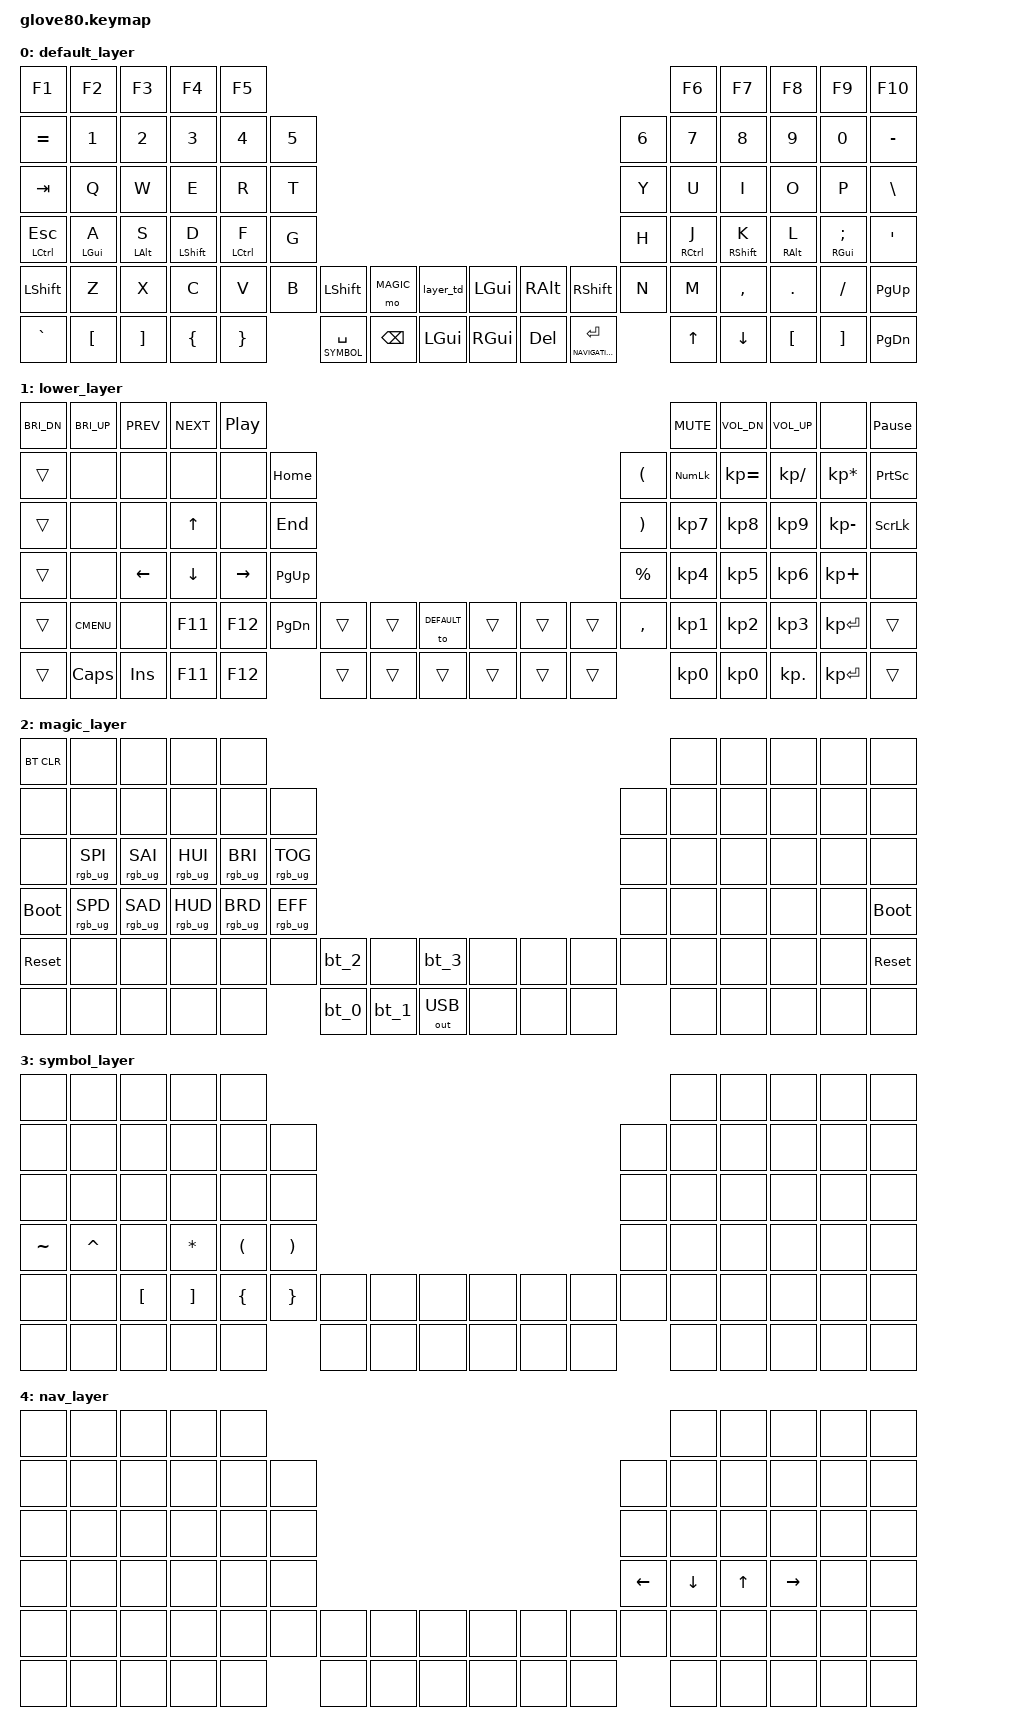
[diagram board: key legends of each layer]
/*
 * Copyright (c) 2020 The ZMK Contributors
 *
 * SPDX-License-Identifier: MIT
 */

#include <behaviors.dtsi>
#include <dt-bindings/zmk/keys.h>
#include <dt-bindings/zmk/bt.h>
#include <dt-bindings/zmk/ext_power.h>
#include <dt-bindings/zmk/outputs.h>
#include <dt-bindings/zmk/rgb.h>

// layers
#define DEFAULT 0
#define LOWER 1
#define MAGIC 2
#define SYMBOL 3
#define NAVIGATION 4

/ {
    behaviors {
        // For the "layer" key, it'd nice to be able to use it as either a shift or a toggle.
        // Configure it as a tap dance, so the first tap (or hold) is a &mo and the second tap is a &to
        layer_td: tap_dance_0 {
            compatible = "zmk,behavior-tap-dance";
            #binding-cells = <0>;
            tapping-term-ms = <200>;
            bindings = <&mo LOWER>, <&to LOWER>;
        };

        lh_meta: home_row_left_cmd_tap {
            compatible = "zmk,behavior-hold-tap";
            #binding-cells = <2>;
            flavor = "balanced";
            tapping-term-ms = <150>;
            quick-tap-ms = <200>;
            bindings = <&kp>, <&kp>;
            hold-trigger-key-positions = <6 7 8 9 10 11>;
        };

        lh_pht: home_row_left_mod_tap {
            compatible = "zmk,behavior-hold-tap";
            #binding-cells = <2>;
            flavor = "balanced";
            tapping-term-ms = <150>;
            quick-tap-ms = <200>;
            bindings = <&kp>, <&kp>;
            #hold-trigger-key-positions = <6 7 8 9 10 11>;
        };

        rh_pht: home_row_right_mod_tap {
            compatible = "zmk,behavior-hold-tap";
            #binding-cells = <2>;
            flavor = "balanced";
            tapping-term-ms = <150>;
            quick-tap-ms = <200>;
            bindings = <&kp>, <&kp>;
            #hold-trigger-key-positions = <0 1 2 3 4 5>;
        };
    };

    macros {
        bt_0: bt_profile_macro_0 {
            compatible = "zmk,behavior-macro";
            #binding-cells = <0>;
            bindings
                = <&out OUT_BLE>,
                  <&bt BT_SEL 0>;
        };

        bt_1: bt_profile_macro_1 {
            compatible = "zmk,behavior-macro";
            #binding-cells = <0>;
            bindings
                = <&out OUT_BLE>,
                  <&bt BT_SEL 1>;
        };

        bt_2: bt_profile_macro_2 {
            compatible = "zmk,behavior-macro";
            #binding-cells = <0>;
            bindings
                = <&out OUT_BLE>,
                  <&bt BT_SEL 2>;
        };

        bt_3: bt_profile_macro_3 {
            compatible = "zmk,behavior-macro";
            #binding-cells = <0>;
            bindings
                = <&out OUT_BLE>,
                  <&bt BT_SEL 3>;
        };
    };

    keymap {
        compatible = "zmk,keymap";

        default_layer {
            // ---------------------------------------------------------------------------------------------------------------------------------
            // |  F1   |  F2 |  F3 |  F4  |  F5  |                                                               |  F6   |  F7   |  F8  |   F9  |  F10 |
            // |  =    |  1  |  2  |  3   |  4   |  5   |                                                 |  6   |   7   |   8   |  9   |   0   |   -  |
            // |  TAB  |  Q  |  W  |  E   |  R   |  T   |                                                 |  Y   |   U   |   I   |  O   |   P   |   \  |
            // |  ESC  |  A  |  S  |  D   |  F   |  G   |                                                 |  H   |   J   |   K   |  L   |   ;   |   '  |
            // |   `   |  Z  |  X  |  C   |  V   |  B   | LSHFT | LCTRL | LOWER | | LGUI  | RCTRL | RSHFT |  N   |   M   |   ,   |  .   |   /   | PGUP |
            // | MAGIC | HOME| END | LEFT | RIGHT|      | BSPC  | DEL   | LALT  | | RALT  | RET   | SPACE |      |  UP   | DOWN  |  [   |   ]   | PGDN |

            bindings = <
            &kp F1         &kp F2   &kp F3      &kp F4      &kp F5                                                                                         &kp F6  &kp F7      &kp F8      &kp F9      &kp F10
            &kp EQUAL      &kp N1   &kp N2      &kp N3      &kp N4      &kp N5                                                                     &kp N6  &kp N7  &kp N8      &kp N9      &kp N0      &kp MINUS
            &kp TAB        &kp Q    &kp W       &kp E       &kp R       &kp T                                                                      &kp Y   &kp U   &kp I       &kp O       &kp P       &kp BSLH
            &mt LCTRL ESC  &lh_meta LGUI A    &lh_pht LALT S       &lh_pht LSHFT D       &lh_pht LCTRL F       &kp G                                                                      &kp H   &rh_pht RCTRL J   &rh_pht RSHFT K       &rh_pht RALT L       &rh_pht RGUI SEMI    &kp SQT
            &kp LSHIFT      &kp Z    &kp X       &kp C       &kp V       &kp B   &kp LSHFT   &mo MAGIC   &layer_td  &kp LGUI  &kp RALT &kp RSHFT   &kp N   &kp M   &kp COMMA   &kp DOT     &kp FSLH    &kp PG_UP
            &kp GRAVE      &kp LBKT    &kp RBKT       &kp LBRC       &kp RBRC       &lt SYMBOL SPACE   &kp BSPC     &kp LGUI   &kp RGUI  &kp DEL   &lt NAVIGATION RET           &kp UP  &kp DOWN    &kp LBKT    &kp RBKT    &kp PG_DN
            >;
        };

        lower_layer {
            bindings = <
            &kp C_BRI_DN      &kp C_BRI_UP        &kp C_PREV      &kp C_NEXT      &kp C_PP                                                                                                           &kp C_MUTE   &kp C_VOL_DN &kp C_VOL_UP  &none           &kp PAUSE_BREAK
            &trans            &none               &none           &none           &none           &kp HOME                                                                              &kp LPAR     &kp KP_NUM   &kp KP_EQUAL &kp KP_DIVIDE &kp KP_MULTIPLY &kp PSCRN
            &trans            &none               &none           &kp UP          &none           &kp END                                                                               &kp RPAR     &kp KP_N7    &kp KP_N8    &kp KP_N9     &kp KP_MINUS    &kp SLCK
            &trans            &none               &kp LEFT        &kp DOWN        &kp RIGHT       &kp PG_UP                                                                             &kp PRCNT    &kp KP_N4    &kp KP_N5    &kp KP_N6     &kp KP_PLUS     &none
            &trans            &kp K_CMENU         &none           &kp F11         &kp F12         &kp PG_DN       &trans      &trans      &to DEFAULT &trans      &trans      &trans    &kp COMMA    &kp KP_N1    &kp KP_N2    &kp KP_N3     &kp KP_ENTER    &trans
            &trans            &kp CAPS            &kp INS         &kp F11         &kp F12                         &trans      &trans      &trans      &trans      &trans      &trans                 &kp KP_N0    &kp KP_N0    &kp KP_DOT    &kp KP_ENTER    &trans
            >;
        };

        magic_layer {
            bindings = <
            &bt BT_CLR        &none               &none           &none           &none                                                                                                           &none      &none      &none      &none      &none
            &none             &none               &none           &none           &none           &none                                                                                &none      &none      &none      &none      &none      &none
            &none             &rgb_ug RGB_SPI     &rgb_ug RGB_SAI &rgb_ug RGB_HUI &rgb_ug RGB_BRI &rgb_ug RGB_TOG                                                                      &none      &none      &none      &none      &none      &none
            &bootloader       &rgb_ug RGB_SPD     &rgb_ug RGB_SAD &rgb_ug RGB_HUD &rgb_ug RGB_BRD &rgb_ug RGB_EFF                                                                      &none      &none      &none      &none      &none      &bootloader
            &sys_reset        &none               &none           &none           &none           &none           &bt_2     &none     &bt_3            &none     &none     &none       &none      &none      &none      &none      &none      &sys_reset
            &none             &none               &none           &none           &none                           &bt_0     &bt_1     &out OUT_USB     &none     &none     &none                  &none      &none      &none      &none      &none
            >;
        };

        symbol_layer {
           bindings = <
            // FnRow
            &none        &none               &none           &none           &none                                                                                                           &none      &none      &none      &none      &none
            // Num
            &none             &none               &none           &none           &none           &none                                                                                &none      &none      &none      &none      &none      &none
            // qwert
            &none             &none               &none           &none           &none           &none                                                                                &none      &none      &none      &none      &none      &none
            // asdf
            &kp TILDE             &kp CARET               &none           &kp STAR           &kp LPAR           &kp RPAR                                                                                &none      &none      &none      &none      &none      &none
            // zxc
            // SHIFT          Z                    X               C                V              B
            &none             &none            &kp LBKT          &kp RBKT       &kp LBRC       &kp RBRC           &none            &none            &none            &none            &none            &none         &none      &none      &none      &none      &none      &none
            // bot
            &none             &none               &none           &none           &none           &none            &none            &none            &none            &none         &none      &none      &none      &none      &none      &none
            >;

        };

        nav_layer {
          bindings = <
            // FRow
            &none        &none               &none           &none           &none                                                                                                           &none      &none      &none      &none      &none
            // Num
            &none             &none               &none           &none           &none           &none                                                                                &none      &none      &none      &none      &none      &none
            // qwert
            &none             &none               &none           &none           &none           &none                                                                                &none      &none      &none      &none      &none      &none
            // asdf
            &none             &none               &none           &none           &none           &none                                                                                &kp LEFT      &kp DOWN      &kp UP      &kp RIGHT   &none     &none
            // zxc
            &none             &none               &none           &none           &none           &none            &none            &none            &none            &none            &none            &none         &none      &none      &none      &none      &none      &none
            // bot
            &none             &none               &none           &none           &none           &none            &none            &none            &none            &none         &none      &none      &none      &none      &none      &none
            >;


        };
    };
};
